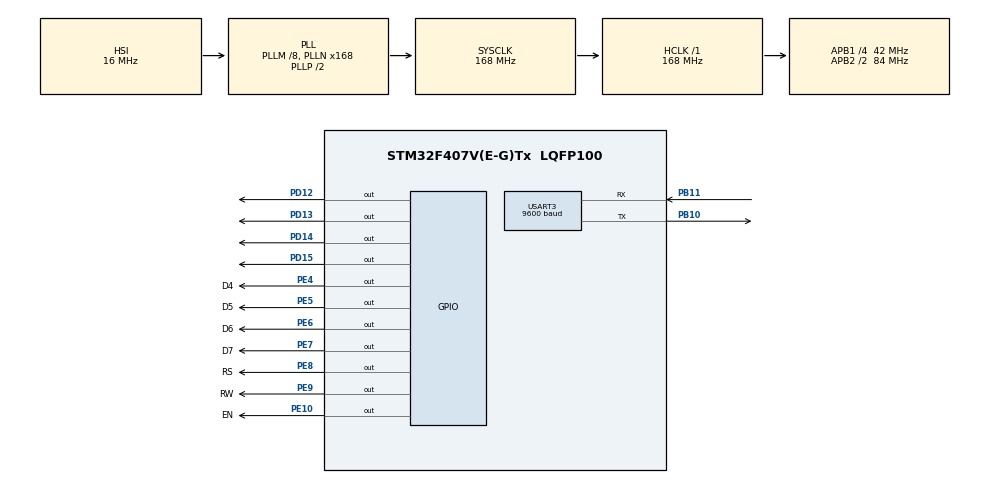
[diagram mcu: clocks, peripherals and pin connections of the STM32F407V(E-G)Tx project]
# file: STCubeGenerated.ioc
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Mcu.Family=STM32F4
Mcu.Name=STM32F407V(E-G)Tx
Mcu.Package=LQFP100
NVIC.PriorityGroup=NVIC_PRIORITYGROUP_4
PB10.Mode=Asynchronous
PB10.Signal=USART3_TX
PB11.Mode=Asynchronous
PB11.Signal=USART3_RX
PD12.Signal=GPIO_Output
PD13.Signal=GPIO_Output
PD14.Signal=GPIO_Output
PD15.Signal=GPIO_Output
PE10.GPIO_Label=EN
PE10.GPIO_ModeDefaultOutputPP=GPIO_MODE_OUTPUT_PP
PE10.GPIO_PuPd=GPIO_NOPULL
PE10.Signal=GPIO_Output
PE4.GPIO_Label=D4
PE4.GPIO_ModeDefaultOutputPP=GPIO_MODE_OUTPUT_PP
PE4.GPIO_PuPd=GPIO_NOPULL
PE4.Signal=GPIO_Output
PE5.GPIO_Label=D5
PE5.GPIO_ModeDefaultOutputPP=GPIO_MODE_OUTPUT_PP
PE5.GPIO_PuPd=GPIO_NOPULL
PE5.Signal=GPIO_Output
PE6.GPIO_Label=D6
PE6.GPIO_ModeDefaultOutputPP=GPIO_MODE_OUTPUT_PP
PE6.GPIO_PuPd=GPIO_NOPULL
PE6.Signal=GPIO_Output
PE7.GPIO_Label=D7
PE7.GPIO_ModeDefaultOutputPP=GPIO_MODE_OUTPUT_PP
PE7.GPIO_PuPd=GPIO_NOPULL
PE7.Signal=GPIO_Output
PE8.GPIO_Label=RS
PE8.GPIO_ModeDefaultOutputPP=GPIO_MODE_OUTPUT_PP
PE8.GPIO_PuPd=GPIO_NOPULL
PE8.Signal=GPIO_Output
PE9.GPIO_Label=RW
PE9.GPIO_ModeDefaultOutputPP=GPIO_MODE_OUTPUT_PP
PE9.GPIO_PuPd=GPIO_NOPULL
PE9.Signal=GPIO_Output
PH0-OSC_IN.Mode=HSE-External-Oscillator
PH0-OSC_IN.Signal=RCC_OSC_IN
PH1-OSC_OUT.Mode=HSE-External-Oscillator
PH1-OSC_OUT.Signal=RCC_OSC_OUT
ProjectManager.HeapSize=0x200
ProjectManager.StackSize=0x400
ProjectManager.TargetToolchain=MDK-ARM V5
RCC.48MHZClocksFreq_Value=84000000
RCC.AHBFreq_Value=168000000
RCC.APB1CLKDivider=RCC_HCLK_DIV4
RCC.APB1Freq_Value=42000000
RCC.APB1TimFreq_Value=84000000
RCC.APB2CLKDivider=RCC_HCLK_DIV2
RCC.APB2Freq_Value=84000000
RCC.APB2TimFreq_Value=168000000
RCC.CortexFreq_Value=168000000
RCC.HCLKFreq_Value=168000000
RCC.HSE_VALUE=8000000
RCC.HSI_VALUE=16000000
RCC.LSE_VALUE=32768
RCC.PLLM=8
RCC.PLLN=168
RCC.SYSCLKFreq_VALUE=168000000
RCC.SYSCLKSource=RCC_SYSCLKSOURCE_PLLCLK
RCC.VCOOutputFreq_Value=336000000
USART3.BaudRate=9600
USART3.VirtualMode=VM_ASYNC
board=custom

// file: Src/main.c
/* USER CODE BEGIN Header */
/**
  ******************************************************************************
  * @file           : main.c
  * @brief          : Main program body
  ******************************************************************************
  * @attention
  *
  * Copyright (c) 2023 STMicroelectronics.
  * All rights reserved.
  *
  * This software is licensed under terms that can be found in the LICENSE file
  * in the root directory of this software component.
  * If no LICENSE file comes with this software, it is provided AS-IS.
  *
  ******************************************************************************
  */
/* USER CODE END Header */
#include "main.h"

/* USER CODE BEGIN Includes */
#include "lcd.h"
#include "stdio.h"

/* USER CODE END Includes */

UART_HandleTypeDef huart3;

void SystemClock_Config(void);
static void MX_GPIO_Init(void);
static void MX_USART3_UART_Init(void);

int main(void)
{

  /* MCU Configuration--------------------------------------------------------*/

  /* Reset of all peripherals, Initializes the Flash interface and the Systick. */
  HAL_Init();

  /* Configure the system clock */
  SystemClock_Config();

  /* Initialize all configured peripherals */
  MX_GPIO_Init();
  MX_USART3_UART_Init();
  /* USER CODE BEGIN 2 */

	// lcd_init
	HAL_GPIO_WritePin(RW_GPIO_Port, RW_Pin, 0);
	Lcd_PortType ports[] = { D4_GPIO_Port, D5_GPIO_Port, D6_GPIO_Port, D7_GPIO_Port };
	Lcd_PinType pins[] = {D4_Pin, D5_Pin, D6_Pin, D7_Pin};
	Lcd_HandleTypeDef lcd;
	lcd = Lcd_create(ports, pins, RS_GPIO_Port, RS_Pin, EN_GPIO_Port, EN_Pin, LCD_4_BIT_MODE);

	// write something and wait 3sec
	Lcd_string(&lcd, "BANU Embedded Sys.");
	Lcd_cursor(&lcd, 1,6);
	Lcd_int(&lcd, 2023);
	HAL_Delay(1000);
	Lcd_clear(&lcd);

  /* USER CODE END 2 */

  /* Infinite loop */
  /* USER CODE BEGIN WHILE */

	char str[16];
	uint8_t send[]="data !";
	//uint8_t receive[sizeof(send)];
	//uint8_t receive[1];
	uint8_t receive;

	//__HAL_UART_ENABLE(&huart3);
	//__USART3_CLK_ENABLE();
	//HAL_UART_Init(&huart3);

	//HAL_UART_Receive_IT(&huart1, receive, 1);

  while (1)
  {

		//HAL_GPIO_TogglePin(GPIOD, GPIO_PIN_15);
		//HAL_Delay(10);

		// Lcd_clear(&lcd);
		Lcd_cursor(&lcd, 0,0);
		snprintf(str, 16, "sent: %s", send);
		Lcd_string(&lcd, str);

		/**************************************************/
		// HAL_UART_Transmit(&huart3, (uint8_t*)send, 6, 10);

		// HAL_UART_Receive(&huart3, receive, data_size, timeout);

		for (int i=0; i<6; i++)
		{
			HAL_UART_Transmit(&huart3, &send[i], 1, 10);
		}

		//for (int i=0; i<2; i++)
		{
			HAL_UART_Receive(&huart3, &receive, 1, 10);
		}

			if (receive=='a')
				HAL_GPIO_WritePin(GPIOD, GPIO_PIN_13, 1);
			else
				HAL_GPIO_WritePin(GPIOD, GPIO_PIN_13, 0);

		/**************************************************/

		Lcd_cursor(&lcd, 1,0);
		snprintf(str, 16, "rcvd: %s", receive);
		Lcd_string(&lcd, str);

		HAL_Delay (1000);

    /* USER CODE END WHILE */

  }
}

void SystemClock_Config(void)
{
  RCC_OscInitTypeDef RCC_OscInitStruct = {0};
  RCC_ClkInitTypeDef RCC_ClkInitStruct = {0};

  /** Configure the main internal regulator output voltage
  */
  __HAL_RCC_PWR_CLK_ENABLE();
  __HAL_PWR_VOLTAGESCALING_CONFIG(PWR_REGULATOR_VOLTAGE_SCALE1);

  /** Initializes the RCC Oscillators according to the specified parameters
  * in the RCC_OscInitTypeDef structure.
  */
  RCC_OscInitStruct.OscillatorType = RCC_OSCILLATORTYPE_HSI;
  RCC_OscInitStruct.HSIState = RCC_HSI_ON;
  RCC_OscInitStruct.HSICalibrationValue = RCC_HSICALIBRATION_DEFAULT;
  RCC_OscInitStruct.PLL.PLLState = RCC_PLL_ON;
  RCC_OscInitStruct.PLL.PLLSource = RCC_PLLSOURCE_HSI;
  RCC_OscInitStruct.PLL.PLLM = 8;
  RCC_OscInitStruct.PLL.PLLN = 168;
  RCC_OscInitStruct.PLL.PLLP = RCC_PLLP_DIV2;
  RCC_OscInitStruct.PLL.PLLQ = 4;
  if (HAL_RCC_OscConfig(&RCC_OscInitStruct) != HAL_OK)
  {
    Error_Handler();
  }

  /** Initializes the CPU, AHB and APB buses clocks
  */
  RCC_ClkInitStruct.ClockType = RCC_CLOCKTYPE_HCLK|RCC_CLOCKTYPE_SYSCLK
                              |RCC_CLOCKTYPE_PCLK1|RCC_CLOCKTYPE_PCLK2;
  RCC_ClkInitStruct.SYSCLKSource = RCC_SYSCLKSOURCE_PLLCLK;
  RCC_ClkInitStruct.AHBCLKDivider = RCC_SYSCLK_DIV1;
  RCC_ClkInitStruct.APB1CLKDivider = RCC_HCLK_DIV4;
  RCC_ClkInitStruct.APB2CLKDivider = RCC_HCLK_DIV2;

  if (HAL_RCC_ClockConfig(&RCC_ClkInitStruct, FLASH_LATENCY_5) != HAL_OK)
  {
    Error_Handler();
  }
}

static void MX_USART3_UART_Init(void)
{

  huart3.Instance = USART3;
  huart3.Init.BaudRate = 9600;
  huart3.Init.WordLength = UART_WORDLENGTH_8B;
  huart3.Init.StopBits = UART_STOPBITS_1;
  huart3.Init.Parity = UART_PARITY_NONE;
  huart3.Init.Mode = UART_MODE_TX_RX;
  huart3.Init.HwFlowCtl = UART_HWCONTROL_NONE;
  huart3.Init.OverSampling = UART_OVERSAMPLING_16;
	if (HAL_UART_Init(&huart3) != HAL_OK)
  {
    Error_Handler();
  }

}

static void MX_GPIO_Init(void)
{
  GPIO_InitTypeDef GPIO_InitStruct = {0};

  /* GPIO Ports Clock Enable */
  __HAL_RCC_GPIOE_CLK_ENABLE();
  __HAL_RCC_GPIOH_CLK_ENABLE();
  __HAL_RCC_GPIOB_CLK_ENABLE();
  __HAL_RCC_GPIOD_CLK_ENABLE();

  /*Configure GPIO pin Output Level */
  HAL_GPIO_WritePin(GPIOE, D4_Pin|D5_Pin|D6_Pin|D7_Pin
                          |RS_Pin|RW_Pin|EN_Pin, GPIO_PIN_RESET);

  /*Configure GPIO pin Output Level */
  HAL_GPIO_WritePin(GPIOD, GPIO_PIN_12|GPIO_PIN_13|GPIO_PIN_14|GPIO_PIN_15, GPIO_PIN_RESET);

  /*Configure GPIO pins : D4_Pin D5_Pin D6_Pin D7_Pin
                           RS_Pin RW_Pin EN_Pin */
  GPIO_InitStruct.Pin = D4_Pin|D5_Pin|D6_Pin|D7_Pin
                          |RS_Pin|RW_Pin|EN_Pin;
  GPIO_InitStruct.Mode = GPIO_MODE_OUTPUT_PP;
  GPIO_InitStruct.Pull = GPIO_NOPULL;
  GPIO_InitStruct.Speed = GPIO_SPEED_FREQ_LOW;
  HAL_GPIO_Init(GPIOE, &GPIO_InitStruct);

  /*Configure GPIO pins : PD12 PD13 PD14 PD15 */
  GPIO_InitStruct.Pin = GPIO_PIN_12|GPIO_PIN_13|GPIO_PIN_14|GPIO_PIN_15;
  GPIO_InitStruct.Mode = GPIO_MODE_OUTPUT_PP;
  GPIO_InitStruct.Pull = GPIO_NOPULL;
  GPIO_InitStruct.Speed = GPIO_SPEED_FREQ_LOW;
  HAL_GPIO_Init(GPIOD, &GPIO_InitStruct);

}

void Error_Handler(void)
{
  __disable_irq();
  while (1)
  {
  }
}
